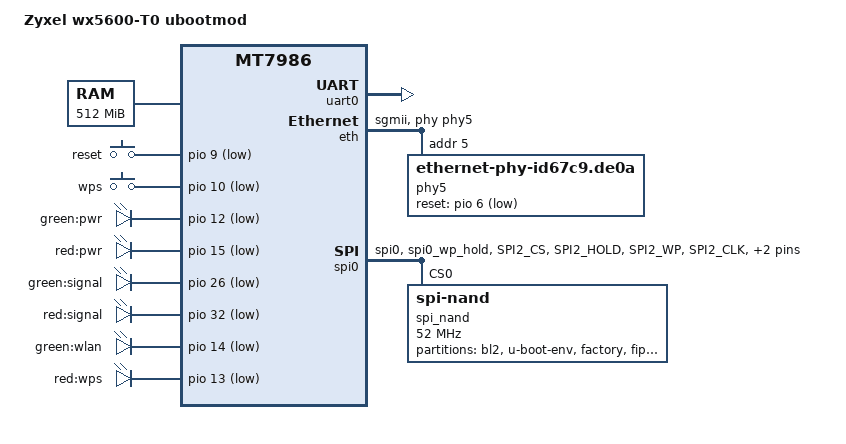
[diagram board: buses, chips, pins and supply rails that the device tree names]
// SPDX-License-Identifier: GPL-2.0
/*
 * Author: Valerio 'ftp21' Mancini <ftp21@ftp21.eu>
 */

/dts-v1/;
#include <dt-bindings/input/linux-event-codes.h>
#include "mt7986.dtsi"
#include <dt-bindings/gpio/gpio.h>

/ {
	model = "Zyxel wx5600-T0 ubootmod";
	compatible = "zyxel,wx-5600", "mediatek,mt7986";
   
   options {
       u-boot {
          compatible = "u-boot,config";
          boot-led = "green:pwr";
          activity-led = "red:pwr";
       };
   };

	chosen {
		stdout-path = &uart0;
		tick-timer = &timer0;
	};

	memory@40000000 {
		device_type = "memory";
		reg = <0x40000000 0x20000000>;
	};

	keys {
		compatible = "gpio-keys";
		factory {
			label = "reset";
			gpios = <&pio 9 GPIO_ACTIVE_LOW>;
			linux,code = <KEY_RESTART>;
		};

		wps {
			label = "wps";
			gpios = <&pio 10 GPIO_ACTIVE_LOW>;
			linux,code = <KEY_WPS_BUTTON>;
		};
	};

	leds {
		compatible = "gpio-leds";

		green_pwr {
			label = "green:pwr";
			gpios = <&pio 12 GPIO_ACTIVE_LOW>;
			default-state = "off";
		};

       red_pwr {
			label = "red:pwr";
			gpios = <&pio 15 GPIO_ACTIVE_LOW>;
			default-state = "off";
		};

       green_signal {
			label = "green:signal";
			gpios = <&pio 26 GPIO_ACTIVE_LOW>;
			default-state = "off";
		};

       red_signal {
			label = "red:signal";
			gpios = <&pio 32 GPIO_ACTIVE_LOW>;
			default-state = "off";
		};

       green_wlan {
			label = "green:wlan";
			gpios = <&pio 14 GPIO_ACTIVE_LOW>;
			default-state = "off";
		};

		red_wps {
			label = "red:wps";
			gpios = <&pio 13 GPIO_ACTIVE_LOW>;
			default-state = "off";
		};
	};
};

&uart0 {
	mediatek,force-highspeed;
	status = "okay";
};

&eth {
        status = "okay";
        mediatek,gmac-id = <0>;
        mediatek,sgmiisys = <&sgmiisys0>;
        phy-mode = "sgmii";
        phy-handle = <&phy5>;

        phy5: eth-phy@5 {
                compatible = "ethernet-phy-id67c9.de0a";
                reg = <5>;
                maxlinear,use-broken-interrupts;
                reset-gpios = <&pio 6 GPIO_ACTIVE_LOW>;
                reset-assert-us = <600>;
                reset-deassert-us = <20000>;
        };
};

&pio {
	spi_flash_pins: spi0-pins-func-1 {
		mux {
			function = "flash";
			groups = "spi0", "spi0_wp_hold";
		};

		conf-pu {
			pins = "SPI2_CS", "SPI2_HOLD", "SPI2_WP";
			drive-strength = <MTK_DRIVE_8mA>;
			bias-pull-up = <MTK_PUPD_SET_R1R0_00>;
		};

		conf-pd {
			pins = "SPI2_CLK", "SPI2_MOSI", "SPI2_MISO";
			drive-strength = <MTK_DRIVE_8mA>;
			bias-pull-down = <MTK_PUPD_SET_R1R0_00>;
		};
	};
};

&spi0 {
	#address-cells = <1>;
	#size-cells = <0>;
	pinctrl-names = "default";
	pinctrl-0 = <&spi_flash_pins>;
	status = "okay";
	enhance_timing;
	dma_ext;
	ipm_design;
	support_quad;
	tick_dly = <1>;
	sample_sel = <0>;

	spi_nand@0 {
		compatible = "spi-nand";
		reg = <0>;
		spi-max-frequency = <52000000>;
		spi-tx-buswidth = <4>;
		spi-rx-buswidth = <4>;

		partitions {
			compatible = "fixed-partitions";
			#address-cells = <1>;
			#size-cells = <1>;

			partition@0 {
				label = "bl2";
				reg = <0x0 0x100000>;
			};

			partition@100000 {
				label = "u-boot-env";
				reg = <0x0100000 0x0080000>;
			};

			partition@180000 {
				label = "factory";
				reg = <0x180000 0x0200000>;
			};

			partition@380000 {
				label = "fip";
				reg = <0x380000 0x01C0000>;
			};

			partition@540000 {
				label = "zloader";
				reg = <0x540000 0x0040000>;
				read-only;
			};
			partition@580000 {
				label = "ubi";
				reg = <0x580000 0x1da80000>;
			};
		};
	};
};

&watchdog {
	status = "disabled";
};
